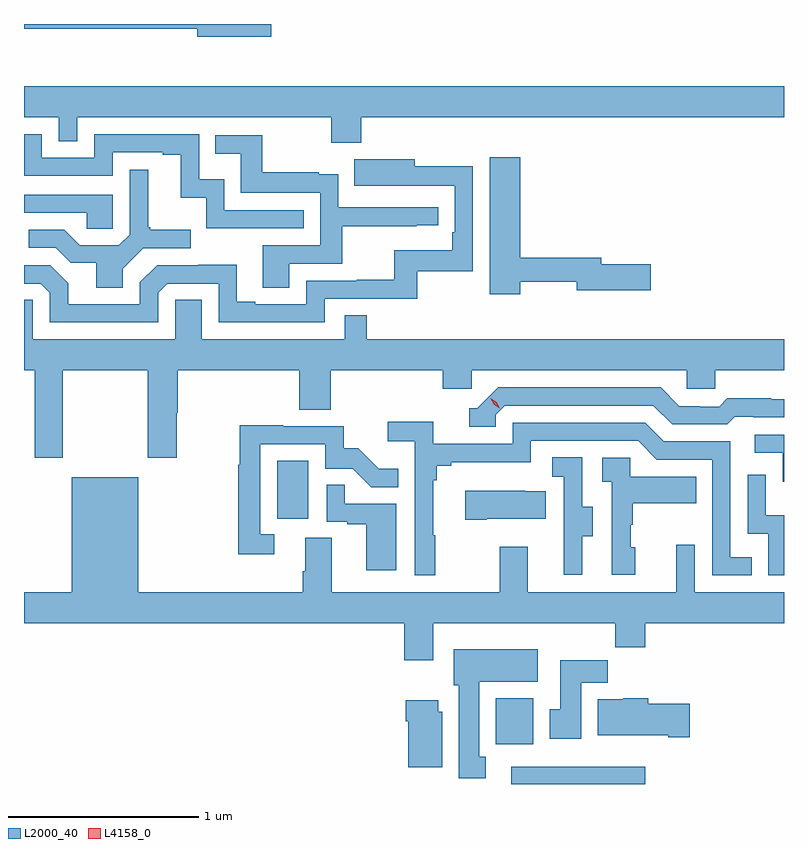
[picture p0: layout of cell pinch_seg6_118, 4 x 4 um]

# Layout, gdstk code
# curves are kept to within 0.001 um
import gdstk
lib = gdstk.Library(unit=1e-6, precision=1e-09)
def R(c, l, rs):  # rectangles x0, y0, x1, y1
    for r in rs: c.add(gdstk.rectangle(r[:2], r[2:], *l))
def P(c, l, *ps):  # polygons
    for p in ps: c.add(gdstk.Polygon(p, *l))
L2000_40 = (2000, 40)
L4158_0 = (4158, 0)

pinch_seg6_118 = lib.new_cell('pinch_seg6_118')
R(pinch_seg6_118, L2000_40, [(971.081,930.507,971.786,930.598), (971,930.716,971.197,930.958), (969.848,931.902,970.012,932.209)])
P(pinch_seg6_118, L2000_40, [(969.817,934.507),(968.516,934.507),(968.516,934.482),(969.428,934.482),(969.428,934.439),(969.817,934.439)],
  [(970.292,934.016),(972.516,934.016),(972.516,934.18),(968.516,934.18),(968.516,934.016),(968.7,934.016),(968.7,933.889),(968.796,933.889),(968.796,934.016),(970.132,934.016),(970.132,933.881),(970.292,933.881)],
  [(969.989,933.528),(969.57,933.528),(969.57,933.691),(969.438,933.691),(969.438,933.927),(968.886,933.927),(968.886,933.804),(968.61,933.804),(968.61,933.927),(968.516,933.927),(968.516,933.708),(968.982,933.708),(968.982,933.831),(969.245,933.831),(969.245,933.819),(969.341,933.819),(969.341,933.593),(969.474,933.593),(969.474,933.432),(969.989,933.432)],
  [(969.913,933.246),(970.19,933.246),(970.19,933.442),(970.583,933.442),(970.583,933.447),(970.696,933.447),(970.696,933.543),(970.17,933.543),(970.17,933.715),(970.067,933.715),(970.067,933.727),(969.769,933.727),(969.769,933.921),(969.523,933.921),(969.523,933.824),(969.658,933.824),(969.658,933.618),(970.074,933.618),(970.074,933.342),(969.773,933.342),(969.773,933.118),(969.913,933.118)],
  [(971.128,933.15),(971.426,933.15),(971.426,933.107),(971.815,933.107),(971.815,933.242),(971.554,933.242),(971.554,933.278),(971.128,933.278),(971.128,933.805),(970.967,933.805),(970.967,933.084),(971.128,933.084)],
  [(969.222,933.093),(969.27,933.141),(969.54,933.141),(969.54,932.937),(970.098,932.937),(970.098,933.06),(970.585,933.06),(970.585,933.207),(970.878,933.207),(970.878,933.758),(970.573,933.758),(970.573,933.796),(970.255,933.796),(970.255,933.656),(970.782,933.657),(970.782,933.412),(970.769,933.412),(970.769,933.316),(970.464,933.316),(970.464,933.161),(970.267,933.161),(970.267,933.156),(970.002,933.156),(970.002,933.033),(969.733,933.033),(969.733,933.046),(969.637,933.046),(969.637,933.239),(969.432,933.239),(969.432,933.237),(969.216,933.237),(969.126,933.147),(969.126,933.033),(968.749,933.033),(968.749,933.143),(968.655,933.237),(968.516,933.237),(968.516,933.141),(968.604,933.141),(968.652,933.093),(968.652,932.937),(969.222,932.937)],
  [(969.037,933.22),(969.144,933.327),(969.394,933.327),(969.394,933.424),(969.181,933.424),(969.181,933.436),(969.169,933.436),(969.169,933.739),(969.072,933.739),(969.072,933.399),(969.015,933.342),(968.809,933.342),(968.728,933.423),(968.541,933.423),(968.541,933.33),(968.682,933.33),(968.762,933.25),(968.897,933.25),(968.897,933.118),(969.037,933.118)],
  [(968.982,933.609),(968.516,933.609),(968.516,933.513),(968.845,933.513),(968.845,933.429),(968.982,933.429)],
  [(969.965,932.476),(970.13,932.476),(970.13,932.684),(970.721,932.684),(970.721,932.586),(970.872,932.586),(970.872,932.684),(972.003,932.684),(972.003,932.586),(972.153,932.586),(972.153,932.684),(972.516,932.684),(972.516,932.848),(970.319,932.848),(970.319,932.975),(970.203,932.975),(970.203,932.848),(969.451,932.848),(969.451,933.056),(969.312,933.056),(969.312,932.848),(968.562,932.848),(968.562,933.056),(968.516,933.056),(968.516,932.684),(968.573,932.684),(968.573,932.223),(968.721,932.223),(968.721,932.684),(969.166,932.684),(969.166,932.223),(969.321,932.223),(969.321,932.462),(969.326,932.462),(969.326,932.684),(969.965,932.684)],
  [(970.998,932.451),(971.046,932.499),(971.829,932.499),(971.928,932.4),(972.217,932.4),(972.256,932.439),(972.355,932.439),(972.355,932.436),(972.516,932.436),(972.516,932.533),(972.45,932.533),(972.45,932.536),(972.217,932.536),(972.175,932.493),(972.072,932.493),(972.072,932.496),(971.965,932.496),(971.866,932.595),(971.013,932.595),(970.902,932.484),(970.859,932.484),(970.859,932.388),(970.998,932.388)],
  [(970.681,931.817),(970.669,931.817),(970.669,932.105),(970.688,932.105),(970.688,932.182),(970.765,932.182),(970.765,932.201),(971.184,932.201),(971.184,932.313),(971.748,932.313),(971.847,932.214),(972.138,932.214),(972.138,931.605),(972.347,931.605),(972.347,931.701),(972.234,931.701),(972.234,932.31),(971.884,932.31),(971.785,932.409),(971.088,932.409),(971.088,932.298),(970.67,932.298),(970.67,932.414),(970.431,932.414),(970.431,932.312),(970.572,932.312),(970.572,931.605),(970.681,931.605)],
  [(969.832,931.821),(969.759,931.821),(969.759,932.295),(970.101,932.295),(970.101,932.166),(970.245,932.166),(970.343,932.068),(970.487,932.068),(970.487,932.167),(970.383,932.167),(970.276,932.274),(970.2,932.274),(970.2,932.391),(969.881,932.391),(969.881,932.396),(969.651,932.396),(969.651,932.188),(969.643,932.188),(969.643,931.716),(969.832,931.716)],
  [(972.516,932.346),(972.363,932.346),(972.363,932.25),(972.51,932.25),(972.51,932.097),(972.516,932.097)],
  [(971.455,931.81),(971.509,931.81),(971.509,931.965),(971.454,931.965),(971.454,932.228),(971.295,932.228),(971.295,932.125),(971.358,932.125),(971.358,931.821),(971.357,931.821),(971.357,931.608),(971.455,931.608)],
  [(971.734,931.752),(971.709,931.752),(971.709,931.871),(971.719,931.871),(971.719,931.985),(972.053,931.985),(972.053,932.125),(971.706,932.125),(971.706,932.223),(971.559,932.223),(971.559,932.099),(971.61,932.099),(971.61,931.608),(971.734,931.608)],
  [(972.516,931.922),(972.42,931.922),(972.42,932.134),(972.324,932.134),(972.324,931.824),(972.432,931.824),(972.432,931.605),(972.516,931.605)],
  [(970.669,931.352),(971.629,931.352),(971.629,931.228),(971.786,931.228),(971.786,931.352),(972.516,931.352),(972.516,931.516),(972.045,931.516),(972.045,931.765),(971.948,931.765),(971.948,931.516),(971.167,931.516),(971.167,931.756),(971.02,931.756),(971.02,931.516),(970.135,931.516),(970.135,931.802),(969.995,931.802),(969.995,931.628),(969.983,931.628),(969.983,931.516),(969.118,931.516),(969.118,932.122),(968.768,932.122),(968.768,931.516),(968.516,931.516),(968.516,931.352),(970.517,931.352),(970.517,931.158),(970.669,931.158)],
  [(970.474,931.983),(970.205,931.983),(970.205,932.081),(970.11,932.081),(970.11,931.887),(970.217,931.887),(970.217,931.875),(970.316,931.875),(970.316,931.632),(970.474,931.632)],
  [(970.951,931.904),(971.261,931.904),(971.261,932.047),(971.153,932.047),(971.153,932.05),(970.839,932.05),(970.839,931.897),(970.951,931.897)],
  [(970.945,930.65),(970.912,930.65),(970.912,931.046),(971.221,931.046),(971.221,931.216),(970.778,931.216),(970.778,931.026),(970.805,931.026),(970.805,930.537),(970.945,930.537)],
  [(971.449,931.04),(971.588,931.04),(971.588,931.158),(971.339,931.158),(971.339,930.9),(971.282,930.9),(971.282,930.744),(971.449,930.744)],
  [(972.019,930.93),(971.801,930.93),(971.801,930.958),(971.67,930.958),(971.67,930.952),(971.537,930.952),(971.537,930.764),(971.906,930.764),(971.906,930.752),(972.019,930.752)],
  [(970.717,930.888),(970.696,930.888),(970.696,930.949),(970.526,930.949),(970.526,930.836),(970.538,930.836),(970.538,930.596),(970.717,930.596)])
P(pinch_seg6_118, L4158_0, [(971.021,932.484),(970.99,932.503),(970.973,932.535),(970.973,932.536),(970.973,932.536),(971.004,932.516),(971.021,932.484),(971.021,932.484)])

lib.write_gds('pinch_seg6_118.gds')
